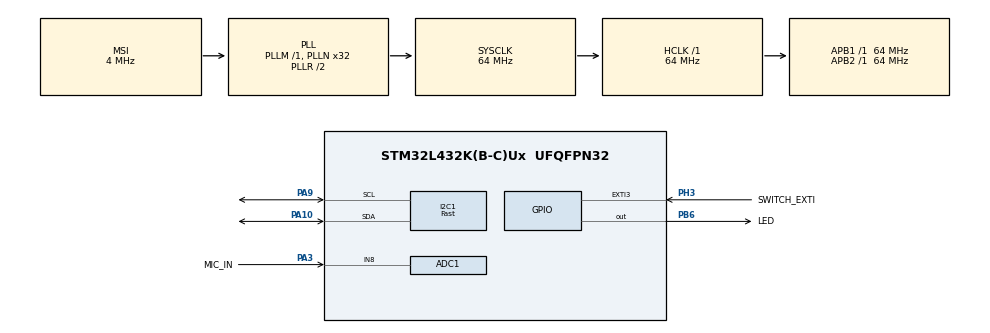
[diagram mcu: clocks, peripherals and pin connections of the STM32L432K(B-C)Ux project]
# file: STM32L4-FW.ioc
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ADC1.Channel-0\#ChannelRegularConversion=ADC_CHANNEL_8
ADC1.ClockPrescaler=ADC_CLOCK_ASYNC_DIV1
ADC1.DMAContinuousRequests=ENABLE
ADC1.EnableInjectedConversion=DISABLE
ADC1.ExternalTrigConv=ADC_EXTERNALTRIG_T15_TRGO
ADC1.NbrOfConversion=1
ADC1.NbrOfConversionFlag=1
ADC1.Offset-0\#ChannelRegularConversion=2284
ADC1.OffsetNumber-0\#ChannelRegularConversion=ADC_OFFSET_NONE
ADC1.OversamplingMode=ENABLE
ADC1.Rank-0\#ChannelRegularConversion=1
ADC1.Rank1_Channel=ADC_CHANNEL_VREFINT
ADC1.Ratio=ADC_OVERSAMPLING_RATIO_8
ADC1.RightBitShift=ADC_RIGHTBITSHIFT_1
ADC1.SamplingTime-0\#ChannelRegularConversion=ADC_SAMPLETIME_12CYCLES_5
ADC1.master=1
Dma.ADC1.0.Direction=DMA_PERIPH_TO_MEMORY
Dma.ADC1.0.Instance=DMA1_Channel1
Dma.ADC1.0.MemDataAlignment=DMA_MDATAALIGN_HALFWORD
Dma.ADC1.0.MemInc=DMA_MINC_ENABLE
Dma.ADC1.0.Mode=DMA_CIRCULAR
Dma.ADC1.0.PeriphDataAlignment=DMA_PDATAALIGN_HALFWORD
Dma.ADC1.0.PeriphInc=DMA_PINC_DISABLE
Dma.ADC1.0.Priority=DMA_PRIORITY_VERY_HIGH
Dma.Request0=ADC1
I2C1.CustomTiming=Disabled
I2C1.DualAddressMode=I2C_DUALADDRESS_ENABLE
I2C1.I2C_Fall_Time=300
I2C1.I2C_Rise_Time=300
I2C1.I2C_Speed_Mode=I2C_Fast
I2C1.Speed=100
I2C1.Timing=0x20850BB8
Mcu.Family=STM32L4
Mcu.Name=STM32L432K(B-C)Ux
Mcu.Package=UFQFPN32
NVIC.ADC1_IRQn=true\:0\:0\:false\:false\:true\:true\:true\:true
NVIC.DMA1_Channel1_IRQn=true\:0\:0\:false\:false\:true\:false\:true\:true
NVIC.EXTI3_IRQn=true\:0\:0\:false\:false\:true\:true\:true\:true
NVIC.PriorityGroup=NVIC_PRIORITYGROUP_4
NVIC.TIM1_BRK_TIM15_IRQn=true\:0\:0\:false\:false\:true\:true\:true\:true
PA10.Mode=I2C
PA10.Signal=I2C1_SDA
PA13\ (JTMS-SWDIO).Mode=Serial_Wire
PA13\ (JTMS-SWDIO).Signal=SYS_JTMS-SWDIO
PA14\ (JTCK-SWCLK).Mode=Serial_Wire
PA14\ (JTCK-SWCLK).Signal=SYS_JTCK-SWCLK
PA3.GPIO_Label=MIC_IN
PA3.Signal=ADCx_IN8
PA9.Mode=I2C
PA9.Signal=I2C1_SCL
PB6.GPIO_Label=LED
PB6.Signal=GPIO_Output
PH3-BOOT0.GPIO_Label=SWITCH_EXTI
PH3-BOOT0.GPIO_ModeDefaultEXTI=GPIO_MODE_IT_RISING_FALLING
PH3-BOOT0.Signal=GPXTI3
ProjectManager.HeapSize=0x200
ProjectManager.StackSize=0x400
ProjectManager.TargetToolchain=STM32CubeIDE
RCC.ADCFreq_Value=64000000
RCC.AHBFreq_Value=64000000
RCC.APB1Freq_Value=64000000
RCC.APB1TimFreq_Value=64000000
RCC.APB2Freq_Value=64000000
RCC.APB2TimFreq_Value=64000000
RCC.CortexFreq_Value=64000000
RCC.HCLKFreq_Value=64000000
RCC.HSE_VALUE=8000000
RCC.HSI48_VALUE=48000000
RCC.HSI_VALUE=16000000
RCC.LSE_VALUE=32768
RCC.MSI_VALUE=4000000
RCC.PLLN=32
RCC.PLLSAI1N=32
RCC.SYSCLKFreq_VALUE=64000000
RCC.SYSCLKSource=RCC_SYSCLKSOURCE_PLLCLK
RCC.USBFreq_Value=64000000
RCC.VCOOutputFreq_Value=128000000
SH.ADCx_IN8.0=ADC1_IN8,IN8-Single-Ended
TIM15.Period=2-1
TIM15.Prescaler=640-1
TIM15.TIM_MasterOutputTrigger=TIM_TRGO_UPDATE
VP_ADC1_Vref_Input.Mode=IN-Vrefint
VP_TIM15_VS_ClockSourceINT.Mode=Internal
board=custom

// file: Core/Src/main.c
/* USER CODE BEGIN Header */
/**
 ******************************************************************************
 * @file           : main.c
 * @brief          : Main program body
 ******************************************************************************
 * @attention
 *
 * Copyright (c) 2025 STMicroelectronics.
 * All rights reserved.
 *
 * This software is licensed under terms that can be found in the LICENSE file
 * in the root directory of this software component.
 * If no LICENSE file comes with this software, it is provided AS-IS.
 *
 ******************************************************************************
 */
/* USER CODE END Header */
#include "main.h"

/* USER CODE BEGIN Includes */

#include "ssd1306.h"        /* oled i2c module */
#include "ssd1306_fonts.h"  /* oled fonts */

#include "arm_math.h"

/* USER CODE END Includes */

/* USER CODE BEGIN PD */

/*
 * taken from stm32l4xx_ll_adc.h for definition of vrefint calibraion
 * ( datasheet p. 29, reference manual p. 311 )
 * Used for calculating the VDDA voltage
 */

#define BUFFER_LEN 							512 						/* total size of the dma buffer */
#define OLED_W								128							/* width of oled */
#define OLED_H								64							/* height of oled */

//#define DBG_MODE
#ifdef DBG_MODE
#include <stdarg.h>         /* varadic functions */
#include <string.h>         /* dbg include for uart print */
#include <stdio.h>
#endif

/* USER CODE END PD */

ADC_HandleTypeDef hadc1;
DMA_HandleTypeDef hdma_adc1;

I2C_HandleTypeDef hi2c1;

TIM_HandleTypeDef htim15;

/* USER CODE BEGIN PV */

volatile uint8_t dma_ftf_flag = 0;
volatile uint8_t dma_htf_flag = 0;

static uint16_t samples[BUFFER_LEN];

#define N 				BUFFER_LEN					/* used for FFT array and looping */
#define SAMPLE_RATE		50000.0f					/* effective sampling freq (64 Mhz / 640/2) */

float fft_buf_in[N];
float fft_buf_out[N];
arm_rfft_fast_instance_f32 fft_handler;

volatile GPIO_PinState state;

/* USER CODE END PV */

void SystemClock_Config(void);
static void MX_GPIO_Init(void);
static void MX_DMA_Init(void);
static void MX_ADC1_Init(void);
static void MX_I2C1_Init(void);
static void MX_TIM15_Init(void);
/* USER CODE BEGIN PFP */

#if defined(DBG_MODE)
static void oled_print(uint8_t x, uint8_t y, const SSD1306_Font_t Font,
		SSD1306_COLOR color, const char *s, ...);
#endif

static void run_audio_visualizer(uint8_t cycle);
static void run_fft_visualizer();

/* USER CODE END PFP */

/* USER CODE BEGIN 0 */

void HAL_GPIO_EXTI_Callback(uint16_t GPIO_Pin) {

	if (GPIO_Pin == SWITCH_EXTI_Pin) {

		/* Update for new state */
		state = HAL_GPIO_ReadPin(SWITCH_EXTI_GPIO_Port, SWITCH_EXTI_Pin);

	}

}

void HAL_ADC_ConvCpltCallback(ADC_HandleTypeDef *hadc) {

	if (hadc->Instance == ADC1) {

		dma_ftf_flag = 1;
		HAL_GPIO_TogglePin(LED_GPIO_Port, LED_Pin);

	}

}

void HAL_ADC_ConvHalfCpltCallback(ADC_HandleTypeDef *hadc) {

	if (hadc->Instance == ADC1) {

		dma_htf_flag = 1;
		HAL_GPIO_TogglePin(LED_GPIO_Port, LED_Pin);

	}

}

/* USER CODE END 0 */

int main(void)
{

  /* MCU Configuration--------------------------------------------------------*/

  /* Reset of all peripherals, Initializes the Flash interface and the Systick. */
  HAL_Init();

  /* Configure the system clock */
  SystemClock_Config();

  /* Initialize all configured peripherals */
  MX_GPIO_Init();
  MX_DMA_Init();
  MX_ADC1_Init();
  MX_I2C1_Init();
  MX_TIM15_Init();
  /* USER CODE BEGIN 2 */

	/* initialize FFT */
	arm_rfft_fast_init_f32(&fft_handler, N);

	ssd1306_Init();

	/* calibrate and start ADC with interrupts */

	if (HAL_ADCEx_Calibration_Start(&hadc1, ADC_SINGLE_ENDED) != HAL_OK)
		Error_Handler();

	if (HAL_ADC_Start_DMA(&hadc1, samples, BUFFER_LEN) != HAL_OK)
		Error_Handler();

	if (HAL_TIM_Base_Start_IT(&htim15) != HAL_OK)
		Error_Handler();

	ssd1306_Fill(Black);
	ssd1306_UpdateScreen();

  /* USER CODE END 2 */

  /* Infinite loop */
  /* USER CODE BEGIN WHILE */
	while (1) {

		if (dma_htf_flag) {
			dma_htf_flag = 0;
			for (uint16_t i = 0; i < N / 2; i++) {
				fft_buf_in[i] = (float) samples[i];
			}
			if (state == GPIO_PIN_RESET)
				run_audio_visualizer(0);
		}

		if (dma_ftf_flag) {
			dma_ftf_flag = 0;
			for (uint16_t i = N / 2; i < N; i++) {
				fft_buf_in[i] = (float) samples[i];
			}

			if (state == GPIO_PIN_SET)
				run_fft_visualizer();
			else
				run_audio_visualizer(1);
		}

    /* USER CODE END WHILE */

	}
}

void SystemClock_Config(void)
{
  RCC_OscInitTypeDef RCC_OscInitStruct = {0};
  RCC_ClkInitTypeDef RCC_ClkInitStruct = {0};

  /** Configure the main internal regulator output voltage
  */
  if (HAL_PWREx_ControlVoltageScaling(PWR_REGULATOR_VOLTAGE_SCALE1) != HAL_OK)
  {
    Error_Handler();
  }

  /** Initializes the RCC Oscillators according to the specified parameters
  * in the RCC_OscInitTypeDef structure.
  */
  RCC_OscInitStruct.OscillatorType = RCC_OSCILLATORTYPE_MSI;
  RCC_OscInitStruct.MSIState = RCC_MSI_ON;
  RCC_OscInitStruct.MSICalibrationValue = 0;
  RCC_OscInitStruct.MSIClockRange = RCC_MSIRANGE_6;
  RCC_OscInitStruct.PLL.PLLState = RCC_PLL_ON;
  RCC_OscInitStruct.PLL.PLLSource = RCC_PLLSOURCE_MSI;
  RCC_OscInitStruct.PLL.PLLM = 1;
  RCC_OscInitStruct.PLL.PLLN = 32;
  RCC_OscInitStruct.PLL.PLLP = RCC_PLLP_DIV7;
  RCC_OscInitStruct.PLL.PLLQ = RCC_PLLQ_DIV2;
  RCC_OscInitStruct.PLL.PLLR = RCC_PLLR_DIV2;
  if (HAL_RCC_OscConfig(&RCC_OscInitStruct) != HAL_OK)
  {
    Error_Handler();
  }

  /** Initializes the CPU, AHB and APB buses clocks
  */
  RCC_ClkInitStruct.ClockType = RCC_CLOCKTYPE_HCLK|RCC_CLOCKTYPE_SYSCLK
                              |RCC_CLOCKTYPE_PCLK1|RCC_CLOCKTYPE_PCLK2;
  RCC_ClkInitStruct.SYSCLKSource = RCC_SYSCLKSOURCE_PLLCLK;
  RCC_ClkInitStruct.AHBCLKDivider = RCC_SYSCLK_DIV1;
  RCC_ClkInitStruct.APB1CLKDivider = RCC_HCLK_DIV1;
  RCC_ClkInitStruct.APB2CLKDivider = RCC_HCLK_DIV1;

  if (HAL_RCC_ClockConfig(&RCC_ClkInitStruct, FLASH_LATENCY_3) != HAL_OK)
  {
    Error_Handler();
  }
}

static void MX_ADC1_Init(void)
{

  ADC_ChannelConfTypeDef sConfig = {0};

  /** Common config
  */
  hadc1.Instance = ADC1;
  hadc1.Init.ClockPrescaler = ADC_CLOCK_ASYNC_DIV1;
  hadc1.Init.Resolution = ADC_RESOLUTION_12B;
  hadc1.Init.DataAlign = ADC_DATAALIGN_RIGHT;
  hadc1.Init.ScanConvMode = ADC_SCAN_DISABLE;
  hadc1.Init.EOCSelection = ADC_EOC_SINGLE_CONV;
  hadc1.Init.LowPowerAutoWait = DISABLE;
  hadc1.Init.ContinuousConvMode = DISABLE;
  hadc1.Init.NbrOfConversion = 1;
  hadc1.Init.DiscontinuousConvMode = DISABLE;
  hadc1.Init.ExternalTrigConv = ADC_EXTERNALTRIG_T15_TRGO;
  hadc1.Init.ExternalTrigConvEdge = ADC_EXTERNALTRIGCONVEDGE_RISING;
  hadc1.Init.DMAContinuousRequests = ENABLE;
  hadc1.Init.Overrun = ADC_OVR_DATA_PRESERVED;
  hadc1.Init.OversamplingMode = ENABLE;
  hadc1.Init.Oversampling.Ratio = ADC_OVERSAMPLING_RATIO_8;
  hadc1.Init.Oversampling.RightBitShift = ADC_RIGHTBITSHIFT_1;
  hadc1.Init.Oversampling.TriggeredMode = ADC_TRIGGEREDMODE_SINGLE_TRIGGER;
  hadc1.Init.Oversampling.OversamplingStopReset = ADC_REGOVERSAMPLING_CONTINUED_MODE;
  if (HAL_ADC_Init(&hadc1) != HAL_OK)
  {
    Error_Handler();
  }

  /** Configure Regular Channel
  */
  sConfig.Channel = ADC_CHANNEL_8;
  sConfig.Rank = ADC_REGULAR_RANK_1;
  sConfig.SamplingTime = ADC_SAMPLETIME_12CYCLES_5;
  sConfig.SingleDiff = ADC_SINGLE_ENDED;
  sConfig.OffsetNumber = ADC_OFFSET_NONE;
  sConfig.Offset = 2284;
  if (HAL_ADC_ConfigChannel(&hadc1, &sConfig) != HAL_OK)
  {
    Error_Handler();
  }

}

static void MX_I2C1_Init(void)
{

  hi2c1.Instance = I2C1;
  hi2c1.Init.Timing = 0x20850BB8;
  hi2c1.Init.OwnAddress1 = 0;
  hi2c1.Init.AddressingMode = I2C_ADDRESSINGMODE_7BIT;
  hi2c1.Init.DualAddressMode = I2C_DUALADDRESS_ENABLE;
  hi2c1.Init.OwnAddress2 = 0;
  hi2c1.Init.OwnAddress2Masks = I2C_OA2_NOMASK;
  hi2c1.Init.GeneralCallMode = I2C_GENERALCALL_DISABLE;
  hi2c1.Init.NoStretchMode = I2C_NOSTRETCH_DISABLE;
  if (HAL_I2C_Init(&hi2c1) != HAL_OK)
  {
    Error_Handler();
  }

  /** Configure Analogue filter
  */
  if (HAL_I2CEx_ConfigAnalogFilter(&hi2c1, I2C_ANALOGFILTER_ENABLE) != HAL_OK)
  {
    Error_Handler();
  }

  /** Configure Digital filter
  */
  if (HAL_I2CEx_ConfigDigitalFilter(&hi2c1, 0) != HAL_OK)
  {
    Error_Handler();
  }

}

static void MX_TIM15_Init(void)
{

  TIM_ClockConfigTypeDef sClockSourceConfig = {0};
  TIM_MasterConfigTypeDef sMasterConfig = {0};

  htim15.Instance = TIM15;
  htim15.Init.Prescaler = 640-1;
  htim15.Init.CounterMode = TIM_COUNTERMODE_UP;
  htim15.Init.Period = 2-1;
  htim15.Init.ClockDivision = TIM_CLOCKDIVISION_DIV1;
  htim15.Init.RepetitionCounter = 0;
  htim15.Init.AutoReloadPreload = TIM_AUTORELOAD_PRELOAD_DISABLE;
  if (HAL_TIM_Base_Init(&htim15) != HAL_OK)
  {
    Error_Handler();
  }
  sClockSourceConfig.ClockSource = TIM_CLOCKSOURCE_INTERNAL;
  if (HAL_TIM_ConfigClockSource(&htim15, &sClockSourceConfig) != HAL_OK)
  {
    Error_Handler();
  }
  sMasterConfig.MasterOutputTrigger = TIM_TRGO_UPDATE;
  sMasterConfig.MasterSlaveMode = TIM_MASTERSLAVEMODE_DISABLE;
  if (HAL_TIMEx_MasterConfigSynchronization(&htim15, &sMasterConfig) != HAL_OK)
  {
    Error_Handler();
  }

}

static void MX_DMA_Init(void)
{

  /* DMA controller clock enable */
  __HAL_RCC_DMA1_CLK_ENABLE();

  /* DMA interrupt init */
  /* DMA1_Channel1_IRQn interrupt configuration */
  HAL_NVIC_SetPriority(DMA1_Channel1_IRQn, 0, 0);
  HAL_NVIC_EnableIRQ(DMA1_Channel1_IRQn);

}

static void MX_GPIO_Init(void)
{
  GPIO_InitTypeDef GPIO_InitStruct = {0};

  /* GPIO Ports Clock Enable */
  __HAL_RCC_GPIOA_CLK_ENABLE();
  __HAL_RCC_GPIOB_CLK_ENABLE();
  __HAL_RCC_GPIOH_CLK_ENABLE();

  /*Configure GPIO pin Output Level */
  HAL_GPIO_WritePin(LED_GPIO_Port, LED_Pin, GPIO_PIN_RESET);

  /*Configure GPIO pin : LED_Pin */
  GPIO_InitStruct.Pin = LED_Pin;
  GPIO_InitStruct.Mode = GPIO_MODE_OUTPUT_PP;
  GPIO_InitStruct.Pull = GPIO_NOPULL;
  GPIO_InitStruct.Speed = GPIO_SPEED_FREQ_LOW;
  HAL_GPIO_Init(LED_GPIO_Port, &GPIO_InitStruct);

  /*Configure GPIO pin : SWITCH_EXTI_Pin */
  GPIO_InitStruct.Pin = SWITCH_EXTI_Pin;
  GPIO_InitStruct.Mode = GPIO_MODE_IT_RISING_FALLING;
  GPIO_InitStruct.Pull = GPIO_NOPULL;
  HAL_GPIO_Init(SWITCH_EXTI_GPIO_Port, &GPIO_InitStruct);

  /* EXTI interrupt init*/
  HAL_NVIC_SetPriority(EXTI3_IRQn, 0, 0);
  HAL_NVIC_EnableIRQ(EXTI3_IRQn);

}

/* USER CODE BEGIN 4 */

#ifdef DBG_MODE
/**
 * @brief wrapper for printing string to OLED
 */
static void oled_print(uint8_t x, uint8_t y, const SSD1306_Font_t Font,
		SSD1306_COLOR color, const char *s, ...) {

	/*
	 * This is a varadic function that wraps the printing sequence to the OLED.
	 * Can then be used like printf after defining location, font and color.
	 * More on varadic functions here: https://man7.org/linux/man-pages/man3/stdarg.3.html
	 * More on vsnprintf here: https://man7.org/linux/man-pages/man3/vsnprintf.3.html
	 */

	int n = 0;
	char buffer[20];
	if (strlen(s) > 20)
		return;

	va_list args;

	va_start(args, s);
	n = vsnprintf(buffer, sizeof(buffer), s, args);
	va_end(args);

	if (n < 0)
		return;

	ssd1306_SetCursor(x, y);
	ssd1306_WriteString(buffer, Font, color);

}
#endif

/**
 * audio analyzer, prints first 128 samples on oled based on cycle (first or second half of dma)
 * Uses relative scaling for better display if values are above threshold
 */
static void run_audio_visualizer(uint8_t cycle) {

	/* identify if its first or second half of buffer to visualize */
	uint16_t start_idx, len;
	if (cycle == 0) {
		start_idx = 0;
		len = BUFFER_LEN / 4;
	} else if (cycle == 1) {
		start_idx = BUFFER_LEN / 2;
		len = BUFFER_LEN - BUFFER_LEN / 4;
	} else {
		return;
	}

	ssd1306_Fill(Black);

	/* calculate mean */
	float sum = 0.0f, max = 1.0f;
	for (uint16_t i = start_idx; i < len; i++) {
		if (fft_buf_in[i] > max)
			max = fft_buf_in[i];
		sum += fft_buf_in[i];
	}
	float mean = sum / ((float) (len - start_idx));

	/* calculate variables for centering and scaling the wave */
	float sum_square = 0.0f;
	for (uint16_t i = start_idx; i < len; i++) {
		float v = fft_buf_in[i] - mean;
		sum_square += v * v;
	}
	float mean_square = sum_square / (float)(len - start_idx);
	float rms = sqrtf(mean_square);

	const float rms_to_peak = 1.6f;      /* peak ≈ 1.4–2.0 × RMS; not perfect sine */
	const float rms_thresh  = 2.0f;      /* below this, treat as silence (in ADC LSBs) */

	float scale = (rms > rms_thresh) ? (15.0f / (rms_to_peak * rms))
									 : (15.0f / 2048.0f);

	/* display 128 samples, scaled to oled  */
	uint8_t x_px = 0;
	for (uint16_t i = start_idx; i < len; i++) {
		float y = (OLED_H / 2 - 1) - (fft_buf_in[i] - mean) * scale;
		if (y >= OLED_H) y = 63;
		if (y < 0) y = 0;
		ssd1306_DrawPixel(x_px++, (uint8_t) (y + 0.5), White);
	}

	ssd1306_UpdateScreen();
}

/**
 * @breif showing FFT visualizer on OLED
 *
 */
static void run_fft_visualizer() {

	ssd1306_Fill(Black);

	/* calculate the mean in the fft buffer */
	float sum = 0;
	for (uint16_t i = 0; i < N; i++)
		sum += fft_buf_in[i];
	float mean = (float) sum / (float) N;

	/* remove DC offset */
	for (uint16_t i = 0; i < N; i++) {
		float hann = 0.5 * (1 - cos(2 * PI * i / (N - 1))); /* hann window multiplier */
		float val = (float) fft_buf_in[i] - mean;
		fft_buf_in[i] = hann * val;
	}

	arm_rfft_fast_f32(&fft_handler, fft_buf_in, fft_buf_out, 0);

//	float max = 1.0f;
	float mags[N / 2];

	float scale = 63.0f / 2048.0f; /* scale factor for magnitudes to oled */

	uint16_t bin_index = 0; /* keep track of the index for fft bin number in loop */
	for (uint16_t i = 1; i < N; i += 2) {
		/* calculate the magnitude of the bin */
		float re = fft_buf_out[i] * scale;
		float im = fft_buf_out[i + 1] * scale;
		mags[bin_index] = sqrtf(re * re + im * im);
//		if (max < mags[bin_index]) {
//			max = mags[bin_index];
//			peakHz = (uint16_t) ((float)bin_index * SAMPLE_RATE / ((float)N));
//		}
		bin_index++;
	}

	/* cap the display width to desired freq (16 kHz in this case) */
	float desired_max_freq = 16000.0 / (SAMPLE_RATE / (float) N);
	float bin_scale = OLED_W / desired_max_freq;

	/* display the transform */
	for (uint16_t i = 1; i < N; i++) {
		float mag = mags[i];
		if (mag < 2) mag = 0;

		mag = mag >= 63.0 ? 63 : mag;
		mag = mag < 0 ? 0 : mag;

		float x = ((float) i) * bin_scale;
		if (x >= OLED_W) break;

		ssd1306_Line((uint8_t)x, 63, (uint8_t)x, 62-(uint8_t)mag, White);
//		ssd1306_DrawPixel((uint8_t) x, 63 - (uint8_t) mag, White);
	}

//	oled_print(0, 32, Font_7x10, White, "freq= %u", peakHz);
	ssd1306_UpdateScreen();
}

/* USER CODE END 4 */

void Error_Handler(void)
{
	__disable_irq();
	while (1) {
	}
}
